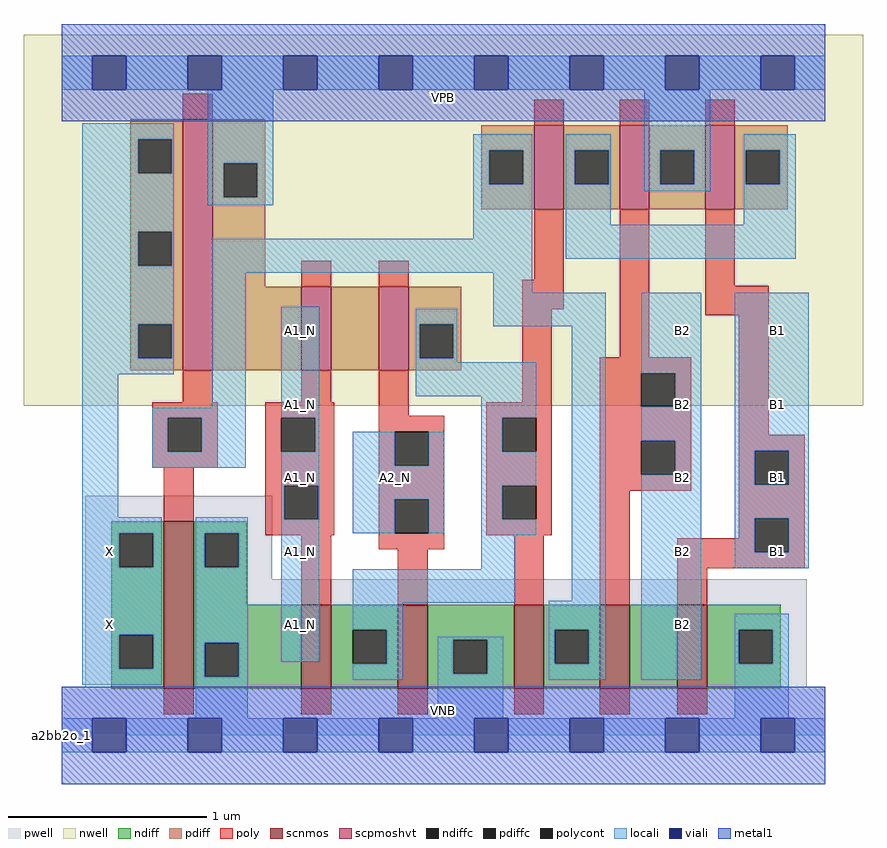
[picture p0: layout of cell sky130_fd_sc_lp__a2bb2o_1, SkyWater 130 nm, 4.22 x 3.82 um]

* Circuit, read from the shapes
.subckt sky130_fd_sc_lp__a2bb2o_1 A1_N A2_N B1 B2 VGND VNB VPB VPWR X
XM1 VGND n1 X VNB sky130_fd_pr__nfet_01v8 w=0.84 l=0.15
XM2 n2 A1_N VGND VNB sky130_fd_pr__nfet_01v8 w=0.42 l=0.15
XM3 VGND A2_N n2 VNB sky130_fd_pr__nfet_01v8 w=0.42 l=0.15
XM4 n1 n2 VGND VNB sky130_fd_pr__nfet_01v8 w=0.42 l=0.15
XM5 n3 B2 n1 VNB sky130_fd_pr__nfet_01v8 w=0.42 l=0.15
XM6 VGND B1 n3 VNB sky130_fd_pr__nfet_01v8 w=0.42 l=0.15
XM7 VPWR n1 X VPB sky130_fd_pr__pfet_01v8_hvt w=1.26 l=0.15
XM8 n4 A1_N VPWR VPB sky130_fd_pr__pfet_01v8_hvt w=0.42 l=0.15
XM9 n2 A2_N n4 VPB sky130_fd_pr__pfet_01v8_hvt w=0.42 l=0.15
XM10 n5 n2 n1 VPB sky130_fd_pr__pfet_01v8_hvt w=0.42 l=0.15
XM11 VPWR B2 n5 VPB sky130_fd_pr__pfet_01v8_hvt w=0.42 l=0.15
XM12 n5 B1 VPWR VPB sky130_fd_pr__pfet_01v8_hvt w=0.42 l=0.15
.ends

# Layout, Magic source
magic
tech sky130A
magscale 1 2
<< nwell >>
rect -38 331 806 704
<< pwell >>
rect 24 157 212 241
rect 24 49 749 157
rect 0 0 768 49
<< scnmos >>
rect 103 47 133 215
rect 241 47 271 131
rect 338 47 368 131
rect 455 47 485 131
rect 541 47 571 131
rect 619 47 649 131
<< scpmoshvt >>
rect 122 367 152 619
rect 475 529 505 613
rect 561 529 591 613
rect 647 529 677 613
rect 241 367 271 451
rect 319 367 349 451
<< ndiff >>
rect 50 203 103 215
rect 50 169 58 203
rect 92 169 103 203
rect 50 101 103 169
rect 50 67 58 101
rect 92 67 103 101
rect 50 47 103 67
rect 133 203 186 215
rect 133 169 144 203
rect 178 169 186 203
rect 133 131 186 169
rect 133 93 241 131
rect 133 59 144 93
rect 178 59 241 93
rect 133 47 241 59
rect 271 106 338 131
rect 271 72 293 106
rect 327 72 338 106
rect 271 47 338 72
rect 368 96 455 131
rect 368 62 394 96
rect 428 62 455 96
rect 368 47 455 62
rect 485 106 541 131
rect 485 72 496 106
rect 530 72 541 106
rect 485 47 541 72
rect 571 47 619 131
rect 649 106 723 131
rect 649 72 681 106
rect 715 72 723 106
rect 649 47 723 72
<< pdiff >>
rect 69 599 122 619
rect 69 565 77 599
rect 111 565 122 599
rect 69 506 122 565
rect 69 472 77 506
rect 111 472 122 506
rect 69 413 122 472
rect 69 379 77 413
rect 111 379 122 413
rect 69 367 122 379
rect 152 575 205 619
rect 152 541 163 575
rect 197 541 205 575
rect 152 451 205 541
rect 422 588 475 613
rect 422 554 430 588
rect 464 554 475 588
rect 422 529 475 554
rect 505 588 561 613
rect 505 554 516 588
rect 550 554 561 588
rect 505 529 561 554
rect 591 588 647 613
rect 591 554 602 588
rect 636 554 647 588
rect 591 529 647 554
rect 677 588 730 613
rect 677 554 688 588
rect 722 554 730 588
rect 677 529 730 554
rect 152 367 241 451
rect 271 367 319 451
rect 349 413 402 451
rect 349 379 360 413
rect 394 379 402 413
rect 349 367 402 379
<< ndiffc >>
rect 58 169 92 203
rect 58 67 92 101
rect 144 169 178 203
rect 144 59 178 93
rect 293 72 327 106
rect 394 62 428 96
rect 496 72 530 106
rect 681 72 715 106
<< pdiffc >>
rect 77 565 111 599
rect 77 472 111 506
rect 77 379 111 413
rect 163 541 197 575
rect 430 554 464 588
rect 516 554 550 588
rect 602 554 636 588
rect 688 554 722 588
rect 360 379 394 413
<< poly >>
rect 122 619 152 645
rect 475 613 505 639
rect 561 613 591 639
rect 647 613 677 639
rect 241 451 271 477
rect 319 451 349 477
rect 475 458 505 529
rect 463 428 505 458
rect 122 335 152 367
rect 241 335 271 367
rect 91 319 157 335
rect 91 285 107 319
rect 141 285 157 319
rect 91 269 157 285
rect 205 319 274 335
rect 205 285 221 319
rect 255 285 274 319
rect 103 215 133 269
rect 205 251 274 285
rect 205 217 224 251
rect 258 217 274 251
rect 205 201 274 217
rect 319 321 349 367
rect 463 335 493 428
rect 561 380 591 529
rect 647 452 677 529
rect 647 422 711 452
rect 319 305 385 321
rect 319 271 335 305
rect 369 271 385 305
rect 319 237 385 271
rect 319 203 335 237
rect 369 203 385 237
rect 241 131 271 201
rect 319 187 385 203
rect 427 319 493 335
rect 427 285 443 319
rect 477 285 493 319
rect 427 251 493 285
rect 427 217 443 251
rect 477 217 493 251
rect 427 201 493 217
rect 541 364 633 380
rect 541 330 583 364
rect 617 330 633 364
rect 541 296 633 330
rect 541 262 583 296
rect 617 262 633 296
rect 541 246 633 262
rect 681 302 711 422
rect 681 286 747 302
rect 681 252 697 286
rect 731 252 747 286
rect 338 131 368 187
rect 455 131 485 201
rect 541 131 571 246
rect 681 218 747 252
rect 681 198 697 218
rect 619 184 697 198
rect 731 184 747 218
rect 619 168 747 184
rect 619 131 649 168
rect 103 21 133 47
rect 241 21 271 47
rect 338 21 368 47
rect 455 21 485 47
rect 541 21 571 47
rect 619 21 649 47
<< polycont >>
rect 107 285 141 319
rect 221 285 255 319
rect 224 217 258 251
rect 335 271 369 305
rect 335 203 369 237
rect 443 285 477 319
rect 443 217 477 251
rect 583 330 617 364
rect 583 262 617 296
rect 697 252 731 286
rect 697 184 731 218
<< locali >>
rect 0 649 31 683
rect 65 649 127 683
rect 161 649 223 683
rect 257 649 319 683
rect 353 649 415 683
rect 449 649 511 683
rect 545 649 607 683
rect 641 649 703 683
rect 737 649 768 683
rect 21 599 113 615
rect 21 565 77 599
rect 111 565 113 599
rect 21 506 113 565
rect 147 575 213 649
rect 147 541 163 575
rect 197 541 213 575
rect 147 533 213 541
rect 414 588 473 604
rect 414 554 430 588
rect 464 554 473 588
rect 21 472 77 506
rect 111 472 113 506
rect 414 499 473 554
rect 21 413 113 472
rect 21 379 77 413
rect 111 379 113 413
rect 21 363 113 379
rect 151 465 473 499
rect 507 588 552 604
rect 507 554 516 588
rect 550 554 552 588
rect 507 513 552 554
rect 586 588 652 649
rect 586 554 602 588
rect 636 554 652 588
rect 586 547 652 554
rect 686 588 738 604
rect 686 554 688 588
rect 722 554 738 588
rect 686 513 738 554
rect 507 479 738 513
rect 21 219 57 363
rect 151 329 185 465
rect 434 445 473 465
rect 91 319 185 329
rect 91 285 107 319
rect 141 285 185 319
rect 91 269 185 285
rect 221 319 259 431
rect 356 413 398 429
rect 356 379 360 413
rect 394 379 398 413
rect 434 411 547 445
rect 356 375 398 379
rect 356 341 477 375
rect 255 285 259 319
rect 422 319 477 341
rect 221 251 259 285
rect 21 203 101 219
rect 21 169 58 203
rect 92 169 101 203
rect 21 101 101 169
rect 21 67 58 101
rect 92 67 101 101
rect 21 51 101 67
rect 135 203 187 219
rect 135 169 144 203
rect 178 169 187 203
rect 135 93 187 169
rect 135 59 144 93
rect 178 59 187 93
rect 221 217 224 251
rect 258 217 259 251
rect 221 74 259 217
rect 293 271 335 305
rect 369 271 385 305
rect 293 237 385 271
rect 293 203 335 237
rect 369 203 385 237
rect 422 285 443 319
rect 422 251 477 285
rect 422 217 443 251
rect 422 201 477 217
rect 422 167 456 201
rect 293 133 456 167
rect 513 135 547 411
rect 293 106 343 133
rect 135 17 187 59
rect 327 72 343 106
rect 490 106 547 135
rect 293 56 343 72
rect 378 96 444 99
rect 378 62 394 96
rect 428 62 444 96
rect 378 17 444 62
rect 490 72 496 106
rect 530 72 547 106
rect 490 56 547 72
rect 583 364 643 445
rect 617 330 643 364
rect 583 296 643 330
rect 617 262 643 296
rect 583 56 643 262
rect 677 286 751 445
rect 677 252 697 286
rect 731 252 751 286
rect 677 218 751 252
rect 677 184 697 218
rect 731 184 751 218
rect 677 168 751 184
rect 677 106 731 122
rect 677 72 681 106
rect 715 72 731 106
rect 677 17 731 72
rect 0 -17 31 17
rect 65 -17 127 17
rect 161 -17 223 17
rect 257 -17 319 17
rect 353 -17 415 17
rect 449 -17 511 17
rect 545 -17 607 17
rect 641 -17 703 17
rect 737 -17 768 17
<< viali >>
rect 31 649 65 683
rect 127 649 161 683
rect 223 649 257 683
rect 319 649 353 683
rect 415 649 449 683
rect 511 649 545 683
rect 607 649 641 683
rect 703 649 737 683
rect 31 -17 65 17
rect 127 -17 161 17
rect 223 -17 257 17
rect 319 -17 353 17
rect 415 -17 449 17
rect 511 -17 545 17
rect 607 -17 641 17
rect 703 -17 737 17
<< metal1 >>
rect 0 683 768 715
rect 0 649 31 683
rect 65 649 127 683
rect 161 649 223 683
rect 257 649 319 683
rect 353 649 415 683
rect 449 649 511 683
rect 545 649 607 683
rect 641 649 703 683
rect 737 649 768 683
rect 0 617 768 649
rect 0 17 768 49
rect 0 -17 31 17
rect 65 -17 127 17
rect 161 -17 223 17
rect 257 -17 319 17
rect 353 -17 415 17
rect 449 -17 511 17
rect 545 -17 607 17
rect 641 -17 703 17
rect 737 -17 768 17
rect 0 -49 768 -17
<< labels >>
flabel pwell s 0 0 768 49 0 FreeSans 200 0 0 0 VNB
port 6 nsew ground bidirectional
flabel nwell s 0 617 768 666 0 FreeSans 200 0 0 0 VPB
port 7 nsew power bidirectional
rlabel comment s 0 0 0 0 4 a2bb2o_1
flabel metal1 s 0 617 768 666 0 FreeSans 340 0 0 0 VPWR
port 8 nsew power bidirectional
flabel metal1 s 0 0 768 49 0 FreeSans 340 0 0 0 VGND
port 5 nsew ground bidirectional
flabel locali s 31 94 65 128 0 FreeSans 340 0 0 0 X
port 9 nsew signal output
flabel locali s 31 168 65 202 0 FreeSans 340 0 0 0 X
port 9 nsew signal output
flabel locali s 223 94 257 128 0 FreeSans 340 0 0 0 A1_N
port 1 nsew signal input
flabel locali s 223 168 257 202 0 FreeSans 340 0 0 0 A1_N
port 1 nsew signal input
flabel locali s 223 242 257 276 0 FreeSans 340 0 0 0 A1_N
port 1 nsew signal input
flabel locali s 223 316 257 350 0 FreeSans 340 0 0 0 A1_N
port 1 nsew signal input
flabel locali s 223 390 257 424 0 FreeSans 340 0 0 0 A1_N
port 1 nsew signal input
flabel locali s 319 242 353 276 0 FreeSans 340 0 0 0 A2_N
port 2 nsew signal input
flabel locali s 607 94 641 128 0 FreeSans 340 0 0 0 B2
port 4 nsew signal input
flabel locali s 607 168 641 202 0 FreeSans 340 0 0 0 B2
port 4 nsew signal input
flabel locali s 607 242 641 276 0 FreeSans 340 0 0 0 B2
port 4 nsew signal input
flabel locali s 607 316 641 350 0 FreeSans 340 0 0 0 B2
port 4 nsew signal input
flabel locali s 607 390 641 424 0 FreeSans 340 0 0 0 B2
port 4 nsew signal input
flabel locali s 703 168 737 202 0 FreeSans 340 0 0 0 B1
port 3 nsew signal input
flabel locali s 703 242 737 276 0 FreeSans 340 0 0 0 B1
port 3 nsew signal input
flabel locali s 703 316 737 350 0 FreeSans 340 0 0 0 B1
port 3 nsew signal input
flabel locali s 703 390 737 424 0 FreeSans 340 0 0 0 B1
port 3 nsew signal input
<< properties >>
string LEFsite unit
string LEFclass CORE
string FIXED_BBOX 0 0 768 666
string GDS_FILE $PDKPATH/libs.ref/sky130_fd_sc_lp/gds/sky130_fd_sc_lp.gds
string LEFsymmetry X Y R90
string GDS_END 5903388
string GDS_START 5895012
<< end >>
